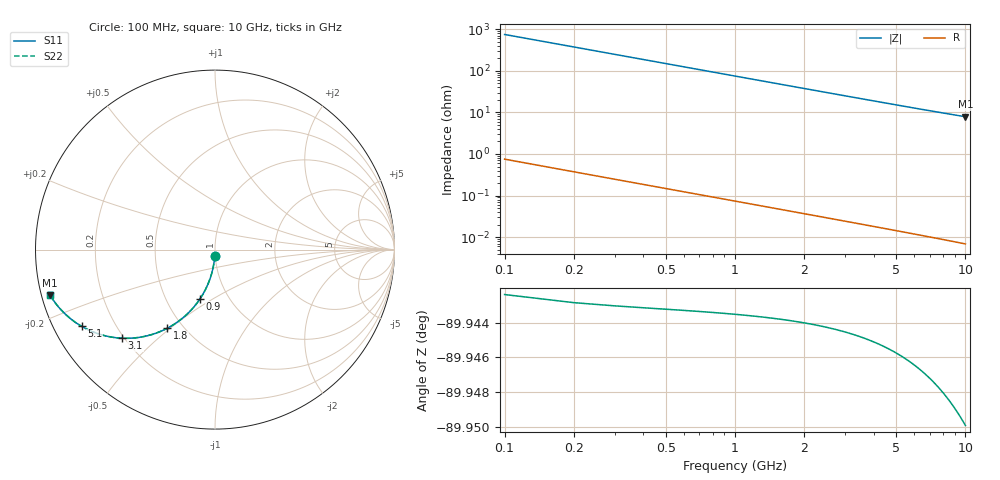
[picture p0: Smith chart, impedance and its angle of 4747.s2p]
# Hz S RI R 50.00
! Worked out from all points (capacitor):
!   100 points, 100 MHz to 10 GHz, reference 50 ohm
!   read as one part in shunt: C = 2.13 pF near 100 MHz
!   lowest |Z| = 7.88 ohm at 10 GHz (marker M1)
!   S11 on the Smith chart (normalised r, x): 100 MHz: 1.00, -0.07; 900 MHz: 0.74, -0.44; 1.8 GHz: 0.41, -0.49; 3.1 GHz: 0.19, -0.39; 5.1 GHz: 0.08, -0.27; 10 GHz: 0.02, -0.14
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1e8  -0.00112 -0.0332  0.9988 -0.0336  0.9988 -0.0336  -0.00112 -0.0332
2e8  -0.00449 -0.0662  0.9954 -0.0669  0.9954 -0.0669  -0.00449 -0.0662
3e8  -0.01 -0.0988  0.9899 -0.0998  0.9899 -0.0998  -0.01 -0.0988
4e8  -0.0177 -0.1307  0.9823 -0.1321  0.9823 -0.1321  -0.0177 -0.1307
5e8  -0.0273 -0.1618  0.9726 -0.1635  0.9726 -0.1635  -0.0273 -0.1618
6e8  -0.0388 -0.1918  0.9611 -0.1938  0.9611 -0.1938  -0.0388 -0.1918
7e8  -0.0521 -0.2206  0.9478 -0.223  0.9478 -0.223  -0.0521 -0.2206
9e8  -0.0832 -0.2742  0.9167 -0.2773  0.9167 -0.2773  -0.0832 -0.2742
1.1e9  -0.1193 -0.3218  0.8806 -0.3256  0.8806 -0.3256  -0.1193 -0.3218
1.3e9  -0.159 -0.363  0.8409 -0.3675  0.8409 -0.3675  -0.159 -0.363
1.5e9  -0.201 -0.3977  0.7989 -0.4029  0.7989 -0.4029  -0.201 -0.3977
1.8e9  -0.2658 -0.4382  0.7341 -0.4444  0.7341 -0.4444  -0.2658 -0.4382
2.1e9  -0.33 -0.4661  0.6699 -0.4734  0.6699 -0.4734  -0.33 -0.4661
2.4e9  -0.3913 -0.4834  0.6086 -0.4917  0.6086 -0.4917  -0.3913 -0.4834
3.1e9  -0.5172 -0.4938  0.4826 -0.5046  0.4826 -0.5046  -0.5172 -0.4938
3.4e9  -0.563 -0.4895  0.4369 -0.5015  0.4369 -0.5015  -0.563 -0.4895
4.2e9  -0.6627 -0.4648  0.3371 -0.4797  0.3371 -0.4797  -0.6627 -0.4648
5.1e9  -0.7435 -0.4271  0.2563 -0.4452  0.2563 -0.4452  -0.7435 -0.4271
5.9e9  -0.7951 -0.3924  0.2046 -0.4135  0.2046 -0.4135  -0.7951 -0.3924
6.7e9  -0.8336 -0.3597  0.166 -0.3838  0.166 -0.3838  -0.8336 -0.3597
8.4e9  -0.8878 -0.2995  0.1117 -0.3301  0.1117 -0.3301  -0.8878 -0.2995
1e10  -0.9185 -0.254  0.0807 -0.2909  0.0807 -0.2909  -0.9185 -0.254
